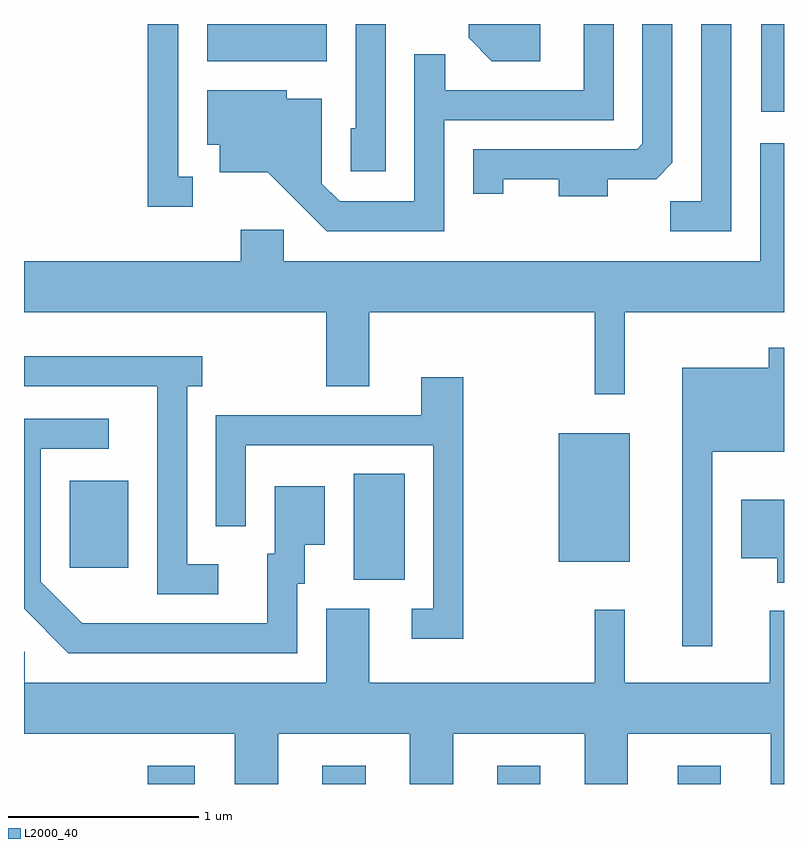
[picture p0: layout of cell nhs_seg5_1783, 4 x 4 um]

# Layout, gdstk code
import gdstk
lib = gdstk.Library(unit=1e-6, precision=1e-09)
def R(c, l, rs):  # rectangles x0, y0, x1, y1
    for r in rs: c.add(gdstk.rectangle(r[:2], r[2:], *l))
def P(c, l, *ps):  # polygons
    for p in ps: c.add(gdstk.Polygon(p, *l))
L2000_40 = (2000, 40)

nhs_seg5_1783 = lib.new_cell('nhs_seg5_1783')
R(nhs_seg5_1783, L2000_40, [(238.261,1472.072,238.509,1472.169), (239.181,1472.072,239.409,1472.169), (240.101,1472.072,240.329,1472.169), (241.051,1472.072,241.279,1472.169), (239.346,1473.146,239.614,1473.704), (237.851,1473.211,238.159,1473.669), (240.426,1473.241,240.799,1473.919), (241.491,1475.611,241.611,1476.072), (238.576,1475.876,239.204,1476.072)])
P(nhs_seg5_1783, L2000_40, [(241.334,1476.072),(241.176,1476.072),(241.176,1475.139),(241.013,1475.139),(241.013,1474.981),(241.334,1474.981)],
  [(238.498,1475.269),(238.424,1475.269),(238.424,1476.072),(238.261,1476.072),(238.261,1475.111),(238.498,1475.111)],
  [(240.329,1476.072),(239.951,1476.072),(239.951,1475.999),(240.074,1475.876),(240.329,1475.876)],
  [(239.824,1475.566),(240.714,1475.566),(240.714,1476.072),(240.556,1476.072),(240.556,1475.724),(239.829,1475.724),(239.829,1475.913),(239.666,1475.913),(239.666,1475.139),(239.272,1475.139),(239.179,1475.232),(239.179,1475.679),(238.994,1475.679),(238.994,1475.724),(238.576,1475.724),(238.576,1475.436),(238.641,1475.436),(238.641,1475.291),(238.894,1475.291),(239.204,1474.981),(239.824,1474.981)],
  [(240.684,1475.256),(240.939,1475.256),(241.024,1475.342),(241.024,1476.072),(240.866,1476.072),(240.866,1475.442),(240.839,1475.414),(239.976,1475.414),(239.976,1475.178),(240.134,1475.178),(240.134,1475.256),(240.426,1475.256),(240.426,1475.166),(240.684,1475.166)],
  [(239.514,1476.072),(239.356,1476.072),(239.356,1475.524),(239.331,1475.524),(239.331,1475.296),(239.514,1475.296)],
  [(240.774,1474.556),(241.611,1474.556),(241.611,1475.444),(241.486,1475.444),(241.486,1474.824),(238.979,1474.824),(238.979,1474.989),(238.751,1474.989),(238.751,1474.824),(237.611,1474.824),(237.611,1474.556),(239.201,1474.556),(239.201,1474.166),(239.429,1474.166),(239.429,1474.556),(240.616,1474.556),(240.616,1474.123),(240.774,1474.123)],
  [(241.234,1473.821),(241.611,1473.821),(241.611,1474.368),(241.531,1474.368),(241.531,1474.264),(241.076,1474.264),(241.076,1472.798),(241.234,1472.798)],
  [(238.633,1473.229),(238.469,1473.229),(238.469,1474.166),(238.548,1474.166),(238.548,1474.324),(237.611,1474.324),(237.611,1474.166),(238.311,1474.166),(238.311,1473.071),(238.633,1473.071)],
  [(239.924,1474.214),(239.701,1474.214),(239.701,1474.014),(238.621,1474.014),(238.621,1473.428),(238.779,1473.428),(238.779,1473.856),(239.766,1473.856),(239.766,1472.994),(239.653,1472.994),(239.653,1472.836),(239.924,1472.836)],
  [(239.049,1473.126),(239.089,1473.126),(239.089,1473.331),(239.194,1473.331),(239.194,1473.639),(238.931,1473.639),(238.931,1473.284),(238.891,1473.284),(238.891,1472.919),(237.917,1472.919),(237.699,1473.137),(237.699,1473.836),(238.058,1473.836),(238.058,1473.994),(237.611,1473.994),(237.611,1472.994),(237.844,1472.761),(239.049,1472.761)],
  [(241.611,1473.569),(241.386,1473.569),(241.386,1473.261),(241.576,1473.261),(241.576,1473.131),(241.611,1473.131)],
  [(238.949,1472.336),(239.641,1472.336),(239.641,1472.072),(239.869,1472.072),(239.869,1472.336),(240.561,1472.336),(240.561,1472.072),(240.789,1472.072),(240.789,1472.336),(241.541,1472.336),(241.541,1472.072),(241.611,1472.072),(241.611,1472.983),(241.536,1472.983),(241.536,1472.604),(240.774,1472.604),(240.774,1472.988),(240.616,1472.988),(240.616,1472.604),(239.429,1472.604),(239.429,1472.994),(239.201,1472.994),(239.201,1472.604),(237.614,1472.604),(237.614,1472.769),(237.611,1472.769),(237.611,1472.336),(238.721,1472.336),(238.721,1472.072),(238.949,1472.072)])

lib.write_gds('nhs_seg5_1783.gds')
